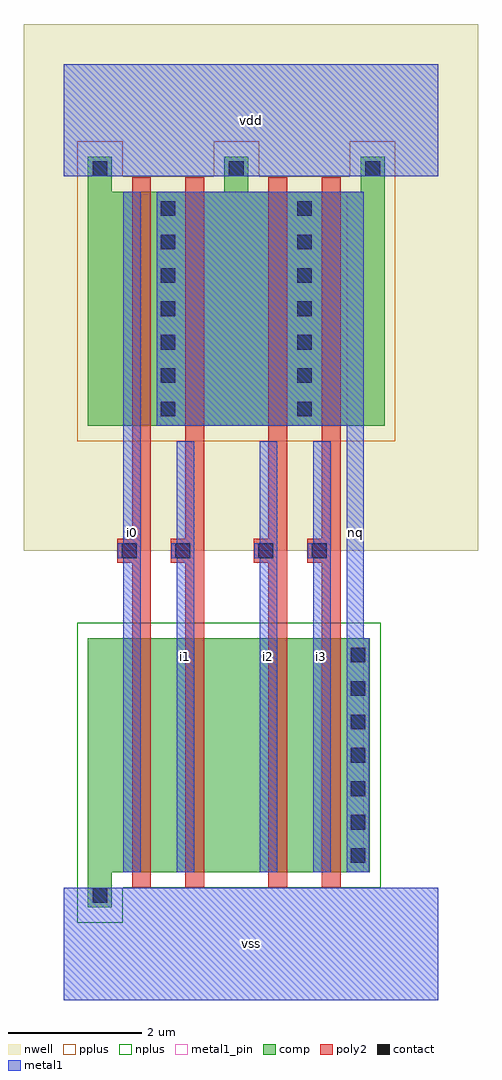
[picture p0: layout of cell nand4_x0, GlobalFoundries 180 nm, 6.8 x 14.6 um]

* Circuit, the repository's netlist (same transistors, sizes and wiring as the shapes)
* nand4_x0
.subckt nand4_x0 vdd vss nq i0 i1 i2 i3
Mn0 vss i0 int0 vss nfet_03v3 l=0.28um w=3.5um
Mp0 vdd i0 nq vdd pfet_03v3 l=0.28um w=3.5um
Mn1 int0 i1 int1 vss nfet_03v3 l=0.28um w=3.5um
Mp1 nq i1 vdd vdd pfet_03v3 l=0.28um w=3.5um
Mn2 int1 i2 int2 vss nfet_03v3 l=0.28um w=3.5um
Mp2 vdd i2 nq vdd pfet_03v3 l=0.28um w=3.5um
Mn3 int2 i3 nq vss nfet_03v3 l=0.28um w=3.5um
Mp3 nq i3 vdd vdd pfet_03v3 l=0.28um w=3.5um
.ends nand4_x0

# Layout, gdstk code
import gdstk
lib = gdstk.Library(unit=1e-6, precision=1e-09)
def R(c, l, rs):  # rectangles x0, y0, x1, y1
    for r in rs: c.add(gdstk.rectangle(r[:2], r[2:], *l))
def A(c, l, x, y, w, h, nx, ny, dx, dy):  # array of equal rectangles
    R(c, l, [(x+i*dx, y+j*dy, x+i*dx+w, y+j*dy+h) for i in range(nx) for j in range(ny)])
def P(c, l, *ps):  # polygons
    for p in ps: c.add(gdstk.Polygon(p, *l))
nwell = (21, 0)
comp = (22, 0)
poly2 = (30, 0)
pplus = (31, 0)
nplus = (32, 0)
contact = (33, 0)
metal1 = (34, 0)
metal1_pin = (34, 10)

nand4_x0 = lib.new_cell('nand4_x0')
R(nand4_x0, nwell, [(-0.6,6.72,6.2,14.6)])
P(nand4_x0, comp, [(0.36,1.385),(0.36,5.41),(4.58,5.41),(4.58,1.91),(0.72,1.91),(0.72,1.385)],
  [(0.36,8.59),(0.36,12.615),(0.72,12.615),(0.72,12.09),(2.4,12.09),(2.4,12.615),(2.76,12.615),(2.76,12.09),(4.44,12.09),(4.44,12.615),(4.8,12.615),(4.8,8.59)])
P(nand4_x0, poly2, [(1.02,1.69),(1.02,6.54),(0.8,6.54),(0.8,6.9),(1.02,6.9),(1.02,12.31),(1.3,12.31),(1.3,1.69)],
  [(1.82,1.69),(1.82,6.54),(1.6,6.54),(1.6,6.9),(1.82,6.9),(1.82,12.31),(2.1,12.31),(2.1,1.69)],
  [(3.06,1.69),(3.06,6.54),(2.84,6.54),(2.84,6.9),(3.06,6.9),(3.06,12.31),(3.34,12.31),(3.34,1.69)],
  [(3.86,1.69),(3.86,6.54),(3.64,6.54),(3.64,6.9),(3.86,6.9),(3.86,12.31),(4.14,12.31),(4.14,1.69)])
P(nand4_x0, pplus, [(0.2,8.36),(0.2,12.845),(0.88,12.845),(0.88,12.32),(2.24,12.32),(2.24,12.845),(2.92,12.845),(2.92,12.32),(4.28,12.32),(4.28,12.845),(4.96,12.845),(4.96,8.36)])
P(nand4_x0, nplus, [(0.2,1.155),(0.2,5.64),(4.74,5.64),(4.74,1.68),(0.88,1.68),(0.88,1.155)])
A(nand4_x0, contact, 4.29, 2.05, 0.22, 0.22, 1, 7, 0, 0.5)
A(nand4_x0, contact, 1.45, 8.73, 0.22, 0.22, 1, 7, 0, 0.5)
A(nand4_x0, contact, 3.49, 8.73, 0.22, 0.22, 1, 7, 0, 0.5)
A(nand4_x0, contact, 0.43, 12.325, 0.22, 0.22, 3, 1, 2.04, 0)
R(nand4_x0, contact, [(0.43,1.455,0.65,1.675), (0.87,6.61,1.09,6.83), (1.67,6.61,1.89,6.83), (2.91,6.61,3.13,6.83), (3.71,6.61,3.93,6.83)])
R(nand4_x0, metal1, [(0,0,5.6,1.68), (0,12.32,5.6,14)])
P(nand4_x0, metal1, [(0.89,1.91),(0.89,6.605),(0.81,6.605),(0.81,6.835),(0.89,6.835),(0.89,12.09),(1.15,12.09),(1.15,1.91)],
  [(4.23,1.91),(4.23,8.59),(1.39,8.59),(1.39,12.09),(4.49,12.09),(4.49,5.41),(4.57,5.41),(4.57,1.91)],
  [(1.69,1.91),(1.69,6.605),(1.61,6.605),(1.61,6.835),(1.69,6.835),(1.69,8.36),(1.95,8.36),(1.95,1.91)],
  [(2.93,1.91),(2.93,6.605),(2.85,6.605),(2.85,6.835),(2.93,6.835),(2.93,8.36),(3.19,8.36),(3.19,1.91)],
  [(3.73,1.91),(3.73,6.605),(3.65,6.605),(3.65,6.835),(3.73,6.835),(3.73,8.36),(3.99,8.36),(3.99,1.91)])
R(nand4_x0, metal1_pin, [(0,0,5.6,1.68), (0.89,1.91,1.15,12.09), (1.69,1.91,1.95,8.36), (2.93,1.91,3.19,8.36), (3.73,1.91,3.99,8.36), (4.23,1.91,4.49,12.09), (0,12.32,5.6,14)])
nand4_x0.add(gdstk.Label('vss', (2.8,0.84), layer=34, texttype=10))
nand4_x0.add(gdstk.Label('vdd', (2.8,13.16), layer=34, texttype=10))
nand4_x0.add(gdstk.Label('i0', (1.02,7), layer=34, texttype=10))
nand4_x0.add(gdstk.Label('nq', (4.36,7), layer=34, texttype=10))
nand4_x0.add(gdstk.Label('i1', (1.82,5.135), layer=34, texttype=10))
nand4_x0.add(gdstk.Label('i2', (3.06,5.135), layer=34, texttype=10))
nand4_x0.add(gdstk.Label('i3', (3.86,5.135), layer=34, texttype=10))

lib.write_gds('nand4_x0.gds')
